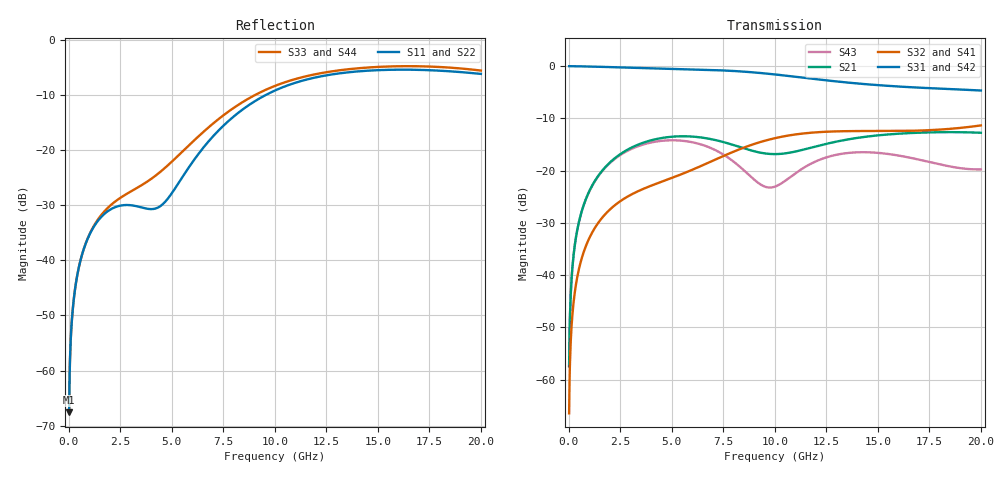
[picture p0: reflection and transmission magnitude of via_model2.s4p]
! Touchstone file from project VIA2
! Exported from HFSS 12.1.1
! Variables:
!  H = 0.65mil
!  Layer_H = 20.65mil
!  MS_S = 6.75mil
!  MS_W = 4.75mil
!  SL_S = 7.5mil
!  SL_W = 6.75mil
!  Via_Pad_R = 11mil
!  Via_R = 10mil
!  Via_S = 40mil
!  Z_route = -72.625mil
!  dAnti_Pad_R = 25mil
!  gVia_S = 109mil
# GHZ S MA R 50.000000
! Terminal data exported
! Port[1] = p1_N
! Port[2] = p2_P
! Port[3] = p3_N
! Port[4] = p4_P
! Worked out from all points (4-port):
!   1000 points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, 20 MHz to 20 GHz, reference 50 ohm
!   strongest paths, dB at 20 MHz, 5.02 GHz, 10.02 GHz, 15.02 GHz, 20 GHz:
!     S31: 0.0, -0.5, -1.6, -3.6, -4.7
!     S42: 0.0, -0.5, -1.6, -3.7, -4.7
!     S32: -66.5, -21.4, -13.8, -12.4, -11.3
!     S41: -66.5, -21.4, -13.8, -12.4, -11.4
!     S21: -57.4, -13.5, -16.8, -13.2, -12.8
!     S43: -57.4, -14.2, -23.1, -16.6, -19.8
!   lowest |S11| = -67.6 dB at 20 MHz (marker M1), VSWR 1.00, Z = 50 + j0.0417 ohm
!   |S11| at or under -10 dB: start of sweep to 9.582 GHz
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0.02  0.0004179 93.4  0.001344 84.6  0.9994 -0.4  0.0004748 -88.0
      0.001344 84.6  0.000423 93.7  0.0004748 -88.0  0.9994 -0.4
      0.9994 -0.4  0.0004748 -88.0  0.0004105 105.5  0.001342 86.4
      0.0004748 -88.0  0.9994 -0.4  0.001342 86.4  0.0004177 105.8
0.54  0.009449 79.9  0.035 78.5  0.9957 -10.2  0.0124 -103.2
      0.035 78.5  0.009613 80.0  0.0124 -103.2  0.9957 -10.2
      0.9957 -10.2  0.0124 -103.2  0.00946 68.9  0.03496 78.4
      0.0124 -103.2  0.9957 -10.2  0.03496 78.4  0.009625 69.0
2.14  0.02966 63.2  0.1267 48.1  0.9774 -39.6  0.04488 -138.2
      0.1267 48.1  0.0303 63.5  0.04491 -138.1  0.9774 -39.6
      0.9774 -39.6  0.04491 -138.1  0.03279 15.2  0.1249 47.7
      0.04488 -138.2  0.9774 -39.6  0.1249 47.7  0.03342 15.3
5.54  0.05763 114.8  0.2132 -10.9  0.936 -100.5  0.09324 166.3
      0.2132 -10.9  0.05842 113.5  0.09353 166.4  0.9359 -100.4
      0.936 -100.5  0.09353 166.4  0.09753 -128.8  0.1928 -12.8
      0.09324 166.3  0.9359 -100.4  0.1928 -12.8  0.09842 -128.2
9.22  0.2902 80.9  0.1496 -48.0  0.8628 -168.1  0.1855 101.8
      0.1496 -48.0  0.2916 80.6  0.1857 101.8  0.8624 -168.1
      0.8628 -168.1  0.1857 101.8  0.3273 125.3  0.0757 -41.9
      0.1855 101.8  0.8624 -168.1  0.0757 -41.9  0.3285 125.6
14.22  0.5184 5.1  0.2085 -78.7  0.6769 107.5  0.239 -3.2
       0.2085 -78.7  0.5202 5.4  0.2392 -3.2  0.6759 107.6
       0.6769 107.5  0.2392 -3.2  0.5533 24.2  0.15 -49.8
       0.239 -3.2  0.6759 107.6  0.15 -49.8  0.5546 24.1
20  0.489 -70.6  0.2302 -172.9  0.5843 15.0  0.2705 -98.9
    0.2302 -172.9  0.4903 -69.9  0.2707 -98.8  0.584 15.2
    0.5843 15.0  0.2707 -98.8  0.5242 -71.5  0.1028 175.9
    0.2705 -98.9  0.584 15.2  0.1028 175.9  0.5245 -71.7
